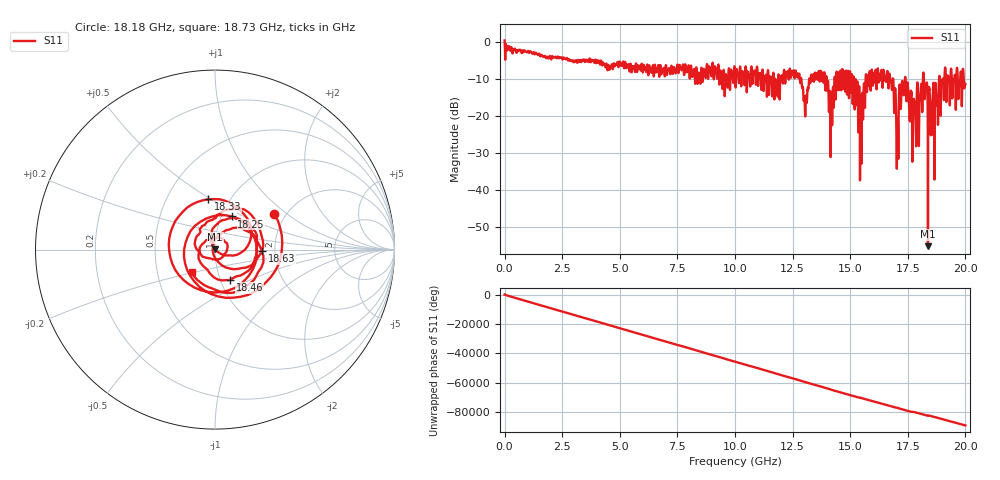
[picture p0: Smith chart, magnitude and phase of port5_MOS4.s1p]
! MS46122B
! 2250307/22442219
! 7/23/2025 7:56:17 AM
! C:\USERS\SPARKY\DOCUMENTS\VNA_DATA\JULY23_2025\3K\PORT5_MOS4.S1P
! CHANNEL.1
! TR.MEASUREMENT
! RAW.DATA
# GHZ S RI R 50.0
! FREQ.GHZ  S11RE  S11IM
!; PortSelection: Port_1
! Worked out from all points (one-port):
!   10001 points, 1 MHz to 20 GHz, reference 50 ohm
!   lowest |S11| = -55.3 dB at 18.38 GHz (marker M1), VSWR 1.00, Z = 50.1 + j0.16 ohm
!   |S11| at or under -10 dB: 16.87 GHz to 17.37 GHz (507.8 MHz wide, 2.97 % of centre); 17.4 GHz to 18.16 GHz (756.5 MHz wide, 4.25 % of centre); 18.2 GHz to 18.86 GHz (655.3 MHz wide, 3.54 % of centre) (the widest 3 of 83)
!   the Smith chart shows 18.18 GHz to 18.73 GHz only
!   S11 on the Smith chart (normalised r, x): 18.18 GHz: 1.75, +0.81; 18.25 GHz: 1.12, +0.43; 18.33 GHz: 0.80, +0.49; 18.46 GHz: 1.11, -0.39; 18.63 GHz: 1.71, -0.03; 18.73 GHz: 0.75, -0.19
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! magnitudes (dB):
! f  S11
! 1 MHz  0.4
! 2.501 GHz  -4.6
! 5.001 GHz  -5.4
! 7.501 GHz  -6.1
! 10 GHz  -8.0
! 12.5 GHz  -8.9
! 13.05 GHz  -19.4
! 13.3 GHz  -8.9
! 13.8 GHz  -8.3
! 14.15 GHz  -27.2
! 14.49 GHz  -8.2
! 15 GHz  -8.6
! 15.44 GHz  -20.4
! 15.77 GHz  -8.9
! 16.68 GHz  -10.1
! 17.01 GHz  -25.0
! 17.32 GHz  -13.6
! 17.5 GHz  -11.6
! 17.78 GHz  -17.1
! 18.18 GHz  -8.3
! 18.25 GHz  -13.7
! 18.33 GHz  -11.0
! 18.38 GHz  -55.3
! 18.46 GHz  -14.5
! 18.63 GHz  -11.6
! 18.73 GHz  -15.0
! 19.05 GHz  -12.1
! 20 GHz  -11.5
